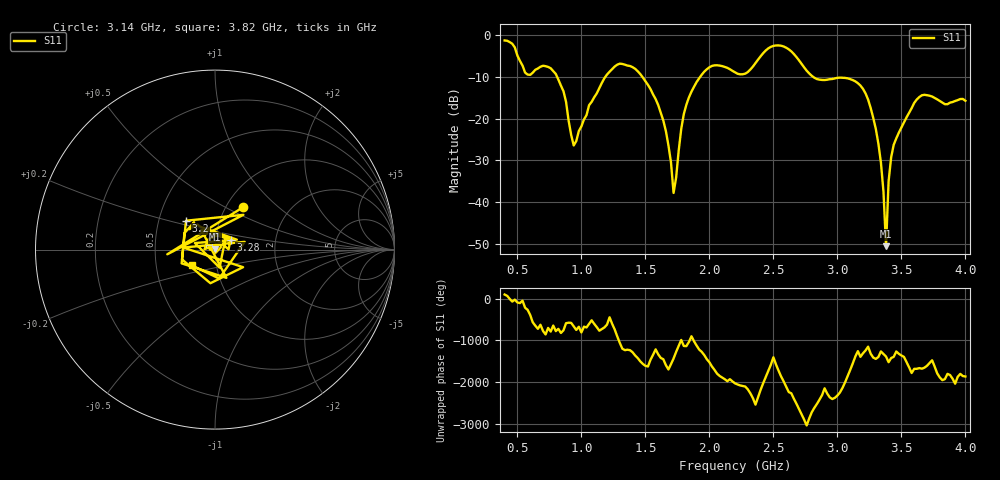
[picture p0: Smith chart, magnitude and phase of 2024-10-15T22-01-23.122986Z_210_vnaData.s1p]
! Created with skrf (http://scikit-rf.org).
# Hz S RI R 50.0
!freq ReS11 ImS11
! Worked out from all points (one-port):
!   181 points, 400 MHz to 4 GHz, reference 50 ohm
!   lowest |S11| = -50.6 dB at 3.38 GHz (marker M1), VSWR 1.01, Z = 50.2 + j0.249 ohm
!   |S11| at or under -10 dB: 811 MHz to 1.186 GHz (374.9 MHz wide, 37.5 % of centre); 1.477 GHz to 1.927 GHz (449.3 MHz wide, 26.4 % of centre); 2.813 GHz to end of sweep
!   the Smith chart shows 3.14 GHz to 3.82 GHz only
!   S11 on the Smith chart (normalised r, x): 3.14 GHz: 1.20, +0.61; 3.2 GHz: 0.69, +0.23; 3.28 GHz: 1.18, +0.13; 3.82 GHz: 0.76, -0.14
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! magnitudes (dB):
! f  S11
! 400 MHz  -1.2
! 560 MHz  -8.9
! 740 MHz  -7.6
! 860 MHz  -13.4
! 940 MHz  -26.4
! 1.3 GHz  -6.8
! 1.6 GHz  -16.7
! 1.68 GHz  -26.4
! 1.72 GHz  -37.8
! 1.76 GHz  -27.7
! 1.82 GHz  -16.6
! 1.92 GHz  -10.3
! 2.2 GHz  -8.9
! 2.5 GHz  -2.5
! 2.66 GHz  -4.5
! 2.84 GHz  -10.5
! 3.1 GHz  -10.5
! 3.14 GHz  -11.0
! 3.2 GHz  -12.8
! 3.28 GHz  -19.8
! 3.34 GHz  -30.5
! 3.38 GHz  -50.6
! 3.4 GHz  -35.0
! 3.42 GHz  -29.2
! 3.56 GHz  -18.6
! 3.66 GHz  -14.4
! 3.82 GHz  -16.1
! 4 GHz  -15.7
